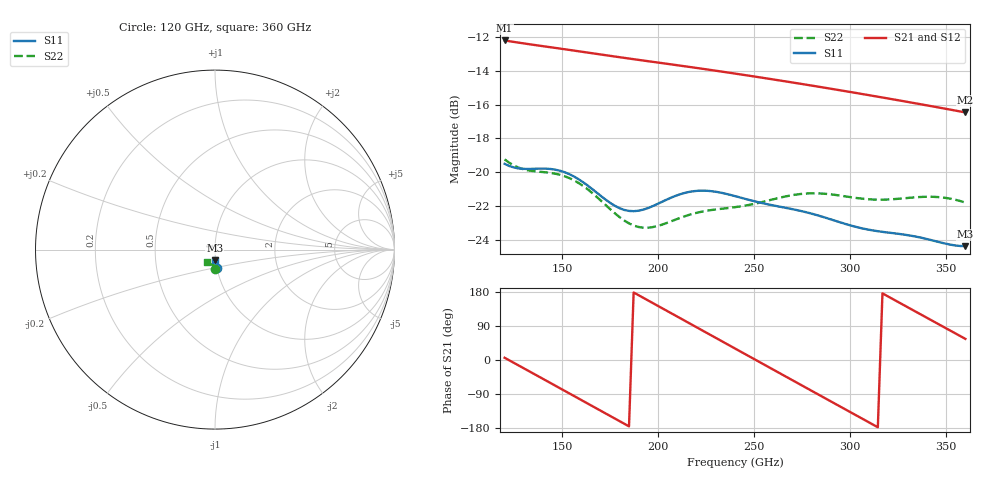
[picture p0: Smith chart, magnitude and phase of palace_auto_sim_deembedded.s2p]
! Created with skrf 1.11.0 (http://scikit-rf.org).
# GHz S DB R 50.0
!freq dBS11 angS11 dBS21 angS21 dBS12 angS12 dBS22 angS22
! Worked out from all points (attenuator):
!   101 points, 120 GHz to 360 GHz, reference 50 ohm
!   highest |S21| = -12.21 dB at 120 GHz (marker M1); lowest = -16.5 dB at 360 GHz (marker M2)
!   lowest |S11| = -24.4 dB at 360 GHz (marker M3), VSWR 1.13, Z = 49.5 - j6.01 ohm
!   |S11| at or under -10 dB: start of sweep to end of sweep
!   |S22| runs from -23.3 to -19.2 dB; largest |S21 - S12| = 2.5e-13
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120  -19.50 -82.9  -12.21 5.9  -12.21 5.9  -19.24 -91.1
129.6  -19.80 -80.3  -12.38 -20.8  -12.38 -20.8  -19.81 -89.1
141.6  -19.79 -81.0  -12.57 -54.3  -12.57 -54.3  -20.00 -89.2
151.2  -19.99 -84.1  -12.73 -81.1  -12.73 -81.1  -20.23 -92.0
160.8  -20.58 -87.1  -12.89 -108.0  -12.89 -108.0  -20.80 -95.6
172.8  -21.63 -87.5  -13.08 -141.6  -13.08 -141.6  -21.95 -97.5
182.4  -22.23 -84.1  -13.24 -168.4  -13.24 -168.4  -22.86 -95.2
192  -22.21 -80.0  -13.39 164.8  -13.39 164.8  -23.27 -90.4
201.6  -21.77 -78.3  -13.54 137.9  -13.54 137.9  -23.11 -86.5
211.2  -21.31 -79.9  -13.69 111.0  -13.69 111.0  -22.70 -85.2
220.8  -21.09 -83.2  -13.85 84.1  -13.85 84.1  -22.37 -86.0
240  -21.41 -89.6  -14.17 30.4  -14.17 30.4  -22.06 -88.5
249.6  -21.70 -91.4  -14.33 3.5  -14.33 3.5  -21.88 -89.6
259.2  -21.94 -92.7  -14.50 -23.4  -14.50 -23.4  -21.62 -91.3
271.2  -22.21 -94.3  -14.72 -56.9  -14.72 -56.9  -21.33 -94.9
280.8  -22.47 -95.7  -14.89 -83.8  -14.89 -83.8  -21.24 -98.5
290.4  -22.80 -96.6  -15.07 -110.6  -15.07 -110.6  -21.31 -101.9
302.4  -23.21 -96.7  -15.30 -144.0  -15.30 -144.0  -21.51 -105.1
312  -23.44 -96.1  -15.49 -170.8  -15.49 -170.8  -21.61 -106.9
321.6  -23.59 -95.7  -15.68 162.5  -15.68 162.5  -21.60 -108.7
340.8  -23.97 -95.2  -16.06 109.0  -16.06 109.0  -21.45 -114.7
360  -24.37 -91.0  -16.46 55.7  -16.46 55.7  -21.79 -123.4
